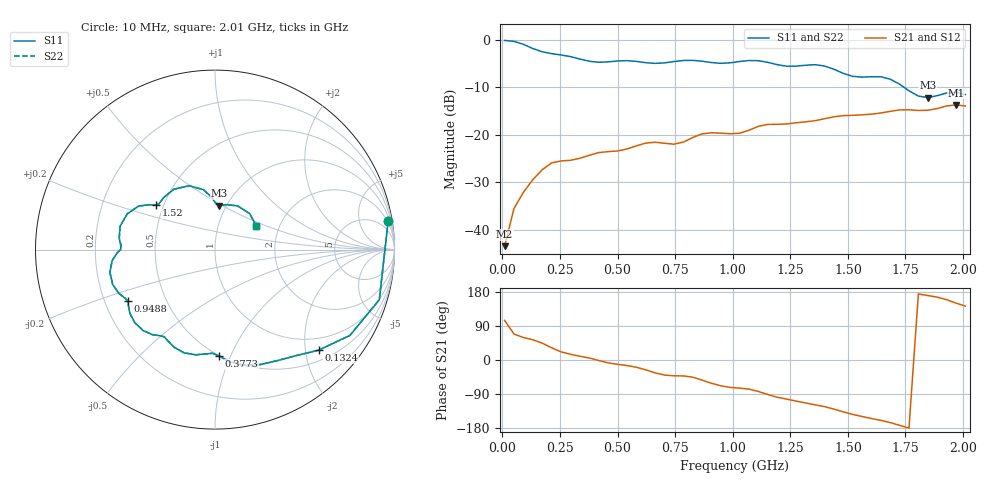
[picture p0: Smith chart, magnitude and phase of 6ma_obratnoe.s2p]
# MHz S MA R 50
!  freq  S11  S21  S12  S22
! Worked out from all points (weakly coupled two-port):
!   50 points, 10 MHz to 2.01 GHz, reference 50 ohm
!   highest |S21| = -13.71 dB at 1.969 GHz (marker M1); lowest = -43.4 dB at 10 MHz (marker M2)
!   lowest |S11| = -12.2 dB at 1.847 GHz (marker M3), VSWR 1.65, Z = 46.4 + j24.1 ohm
!   |S11| at or under -10 dB: 1.743 GHz to end of sweep
!   |S22| runs from -12.2 to -0.2 dB; largest |S21 - S12| = 0.00066
!   S11 on the Smith chart (normalised r, x): 10 MHz: 2, +12; 132.4 MHz: 0.72, -2.27; 377.3 MHz: 0.50, -0.90; 948.8 MHz: 0.30, -0.25; 1.52 GHz: 0.46, +0.27; 2.01 GHz: 1.52, +0.43
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10  0.9783 9.5  0.00676 104.5  0.00675 104.6  0.9781 9.5
50.81633  0.9573 -16.9  0.01686 68.5  0.01688 68.5  0.9571 -16.9
91.63265  0.8912 -32.5  0.02485 59.3  0.02486 59.5  0.8908 -32.4
132.449  0.8044 -44.1  0.03376 53.5  0.03379 53.5  0.8048 -44.1
214.0816  0.7107 -60.2  0.05059 32.3  0.05061 32.3  0.7109 -60.2
295.7143  0.6617 -76.5  0.05389 15.2  0.05381 15.2  0.6616 -76.5
377.3469  0.5917 -88.0  0.06088 5.3  0.0609 5.3  0.5917 -88.0
581.4286  0.5896 -112.8  0.07643 -19.1  0.07633 -19.0  0.5894 -112.8
703.8776  0.5687 -122.5  0.08141 -39.8  0.08124 -39.8  0.569 -122.5
826.3265  0.6048 -137.6  0.09345 -45.3  0.09351 -45.4  0.6047 -137.6
948.7755  0.5629 -149.6  0.104 -68.0  0.1039 -68.0  0.563 -149.5
1030.408  0.5883 -155.4  0.1038 -74.3  0.1039 -74.4  0.5879 -155.4
1112.041  0.5992 -167.9  0.1228 -83.1  0.1227 -83.1  0.5991 -167.9
1356.939  0.5446 166.1  0.1405 -118.3  0.1405 -118.0  0.5444 166.2
1438.571  0.489 150.2  0.1543 -129.4  0.1544 -129.5  0.489 150.3
1520.204  0.4109 143.0  0.1599 -143.4  0.16 -143.3  0.4112 143.1
1601.837  0.4072 134.2  0.1643 -154.3  0.1646 -154.3  0.4074 134.1
1683.469  0.3838 112.0  0.1761 -165.1  0.1759 -165.2  0.3833 112.0
1765.102  0.2898 93.2  0.183 -179.9  0.183 -179.9  0.2897 93.2
1846.735  0.2455 84.4  0.1809 170.1  0.1809 170.3  0.2455 84.5
1969.184  0.2788 46.0  0.2062 150.1  0.2059 150.0  0.2786 45.9
2010  0.2646 30.1  0.2003 142.2  0.2001 142.2  0.2645 30.0
